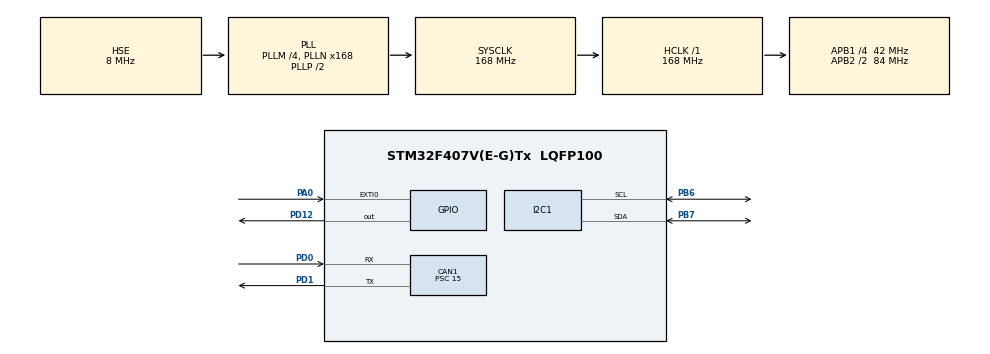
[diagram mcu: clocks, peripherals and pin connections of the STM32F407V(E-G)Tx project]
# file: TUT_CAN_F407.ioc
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CAN1.BS1=CAN_BS1_2TQ
CAN1.BS2=CAN_BS2_4TQ
CAN1.CalculateBaudRate=400000
CAN1.CalculateTimeBit=2500
CAN1.CalculateTimeQuantum=357.14285714285717
CAN1.Prescaler=15
Mcu.Family=STM32F4
Mcu.Name=STM32F407V(E-G)Tx
Mcu.Package=LQFP100
NVIC.CAN1_RX0_IRQn=true\:0\:0\:false\:false\:true\:true\:true\:true
NVIC.EXTI0_IRQn=true\:0\:0\:false\:false\:true\:true\:true\:true
NVIC.PriorityGroup=NVIC_PRIORITYGROUP_4
PA0-WKUP.Signal=GPXTI0
PA13.Mode=Serial_Wire
PA13.Signal=SYS_JTMS-SWDIO
PA14.Mode=Serial_Wire
PA14.Signal=SYS_JTCK-SWCLK
PB6.Mode=I2C
PB6.Signal=I2C1_SCL
PB7.Mode=I2C
PB7.Signal=I2C1_SDA
PD0.Mode=CAN_Activate
PD0.Signal=CAN1_RX
PD1.Mode=CAN_Activate
PD1.Signal=CAN1_TX
PD12.Signal=GPIO_Output
PH0-OSC_IN.Mode=HSE-External-Oscillator
PH0-OSC_IN.Signal=RCC_OSC_IN
PH1-OSC_OUT.Mode=HSE-External-Oscillator
PH1-OSC_OUT.Signal=RCC_OSC_OUT
ProjectManager.HeapSize=0x200
ProjectManager.StackSize=0x400
ProjectManager.TargetToolchain=STM32CubeIDE
RCC.48MHZClocksFreq_Value=84000000
RCC.AHBFreq_Value=168000000
RCC.APB1CLKDivider=RCC_HCLK_DIV4
RCC.APB1Freq_Value=42000000
RCC.APB1TimFreq_Value=84000000
RCC.APB2CLKDivider=RCC_HCLK_DIV2
RCC.APB2Freq_Value=84000000
RCC.APB2TimFreq_Value=168000000
RCC.CortexFreq_Value=168000000
RCC.HCLKFreq_Value=168000000
RCC.HSE_VALUE=8000000
RCC.HSI_VALUE=16000000
RCC.LSE_VALUE=32768
RCC.PLLM=4
RCC.PLLN=168
RCC.PLLSourceVirtual=RCC_PLLSOURCE_HSE
RCC.SYSCLKFreq_VALUE=168000000
RCC.SYSCLKSource=RCC_SYSCLKSOURCE_PLLCLK
RCC.VCOOutputFreq_Value=336000000
board=custom

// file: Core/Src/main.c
/* USER CODE BEGIN Header */
/**
  ******************************************************************************
  * @file           : main.c
  * @brief          : Main program body
  ******************************************************************************
  * @attention
  *
  * Copyright (c) 2024 STMicroelectronics.
  * All rights reserved.
  *
  * This software is licensed under terms that can be found in the LICENSE file
  * in the root directory of this software component.
  * If no LICENSE file comes with this software, it is provided AS-IS.
  *
  ******************************************************************************
  */
/* USER CODE END Header */
#include "main.h"

/* USER CODE BEGIN Includes */

#include "BMP180.h"
#include "math.h"

CAN_TxHeaderTypeDef TxHeader;
CAN_RxHeaderTypeDef RxHeader;

uint8_t txData[8];
uint8_t rxData[8];

uint32_t TxMailbox;

uint8_t status;

sensor_status_e status1;
sensor_readiness_e status2;
sensor_readiness_e status3;

uint8_t return1;
int16_t calibrationData[11];

float tempVal;
double presVal;
double altitudeVal;

/* USER CODE END Includes */

CAN_HandleTypeDef hcan1;

I2C_HandleTypeDef hi2c1;

void SystemClock_Config(void);
static void MX_GPIO_Init(void);
static void MX_CAN1_Init(void);
static void MX_I2C1_Init(void);

/* USER CODE BEGIN 0 */

void HAL_GPIO_EXTI_Callback(uint16_t GPIO_Pin)
{
	if(HAL_GPIO_ReadPin(GPIOA,GPIO_PIN_0))
	{
		txData[0] = tempVal;
		txData[1] = presVal;
		txData[2] = altitudeVal;
	}

	HAL_CAN_AddTxMessage(&hcan1, &TxHeader, txData, &TxMailbox);
}

void HAL_CAN_RxFifo0MsgPendingCallback(CAN_HandleTypeDef *hcan)
{
	HAL_CAN_GetRxMessage(&hcan1, CAN_RX_FIFO0, &RxHeader, rxData);

	if(RxHeader.DLC == 2)
	{
		status = 1;
	}

}

/* USER CODE END 0 */

int main(void)
{

  /* MCU Configuration--------------------------------------------------------*/

  /* Reset of all peripherals, Initializes the Flash interface and the Systick. */
  HAL_Init();

  /* Configure the system clock */
  SystemClock_Config();

  /* Initialize all configured peripherals */
  MX_GPIO_Init();
  MX_CAN1_Init();
  MX_I2C1_Init();
  /* USER CODE BEGIN 2 */

  HAL_CAN_Start(&hcan1);

  HAL_CAN_ActivateNotification(&hcan1, CAN_IT_RX_FIFO0_MSG_PENDING);

  TxHeader.DLC = 3;
  TxHeader.IDE = CAN_ID_STD;
  TxHeader.RTR = CAN_RTR_DATA;
  TxHeader.StdId = 0x407;

  status1 = BMP180_check_sensor();
  status2 = BMP180_chip_ID();
  BMP180_getCalib_data(calibrationData);

  /* USER CODE END 2 */

  /* Infinite loop */
  while (1)
  {

    /* USER CODE BEGIN 3 */

//	  if(status == 1)
//	  {
//		  for(int i = 0;i < rxData[1];i++)
//		  {
//			  HAL_GPIO_TogglePin(GPIOD,GPIO_PIN_12);
//			  HAL_Delay(rxData[0]);
//		  }
//		  status = 0;
//	  }

	  tempVal = BMP180_read_rtemp();

	  // Turn to bar
	  presVal = BMP180_read_rpres(SINGLE_TIME);

	  altitudeVal = 44330 * (1 - pow(presVal/101325,1/5255));

	  txData[0] = tempVal;
	  txData[1] = presVal;
	  txData[2] = altitudeVal;

	  HAL_CAN_AddTxMessage(&hcan1, &TxHeader, txData, &TxMailbox);
  }
  /* USER CODE END 3 */
}

void SystemClock_Config(void)
{
  RCC_OscInitTypeDef RCC_OscInitStruct = {0};
  RCC_ClkInitTypeDef RCC_ClkInitStruct = {0};

  /** Configure the main internal regulator output voltage
  */
  __HAL_RCC_PWR_CLK_ENABLE();
  __HAL_PWR_VOLTAGESCALING_CONFIG(PWR_REGULATOR_VOLTAGE_SCALE1);

  /** Initializes the RCC Oscillators according to the specified parameters
  * in the RCC_OscInitTypeDef structure.
  */
  RCC_OscInitStruct.OscillatorType = RCC_OSCILLATORTYPE_HSE;
  RCC_OscInitStruct.HSEState = RCC_HSE_ON;
  RCC_OscInitStruct.PLL.PLLState = RCC_PLL_ON;
  RCC_OscInitStruct.PLL.PLLSource = RCC_PLLSOURCE_HSE;
  RCC_OscInitStruct.PLL.PLLM = 4;
  RCC_OscInitStruct.PLL.PLLN = 168;
  RCC_OscInitStruct.PLL.PLLP = RCC_PLLP_DIV2;
  RCC_OscInitStruct.PLL.PLLQ = 4;
  if (HAL_RCC_OscConfig(&RCC_OscInitStruct) != HAL_OK)
  {
    Error_Handler();
  }

  /** Initializes the CPU, AHB and APB buses clocks
  */
  RCC_ClkInitStruct.ClockType = RCC_CLOCKTYPE_HCLK|RCC_CLOCKTYPE_SYSCLK
                              |RCC_CLOCKTYPE_PCLK1|RCC_CLOCKTYPE_PCLK2;
  RCC_ClkInitStruct.SYSCLKSource = RCC_SYSCLKSOURCE_PLLCLK;
  RCC_ClkInitStruct.AHBCLKDivider = RCC_SYSCLK_DIV1;
  RCC_ClkInitStruct.APB1CLKDivider = RCC_HCLK_DIV4;
  RCC_ClkInitStruct.APB2CLKDivider = RCC_HCLK_DIV2;

  if (HAL_RCC_ClockConfig(&RCC_ClkInitStruct, FLASH_LATENCY_5) != HAL_OK)
  {
    Error_Handler();
  }
}

static void MX_CAN1_Init(void)
{

  hcan1.Instance = CAN1;
  hcan1.Init.Prescaler = 15;
  hcan1.Init.Mode = CAN_MODE_NORMAL;
  hcan1.Init.SyncJumpWidth = CAN_SJW_1TQ;
  hcan1.Init.TimeSeg1 = CAN_BS1_2TQ;
  hcan1.Init.TimeSeg2 = CAN_BS2_4TQ;
  hcan1.Init.TimeTriggeredMode = DISABLE;
  hcan1.Init.AutoBusOff = DISABLE;
  hcan1.Init.AutoWakeUp = DISABLE;
  hcan1.Init.AutoRetransmission = DISABLE;
  hcan1.Init.ReceiveFifoLocked = DISABLE;
  hcan1.Init.TransmitFifoPriority = DISABLE;
  if (HAL_CAN_Init(&hcan1) != HAL_OK)
  {
    Error_Handler();
  }
  /* USER CODE BEGIN CAN1_Init 2 */

  CAN_FilterTypeDef FilterConfig;

  FilterConfig.FilterActivation=CAN_FILTER_ENABLE;
  FilterConfig.FilterBank = 18;
  FilterConfig.FilterFIFOAssignment=CAN_FILTER_FIFO0;
  FilterConfig.FilterIdHigh = 0x303 << 5;
  FilterConfig.FilterIdLow = 0x0000;
  FilterConfig.FilterMaskIdHigh = 0x303 << 5;
  FilterConfig.FilterMaskIdLow = 0x0000;
  FilterConfig.FilterMode=CAN_FILTERMODE_IDMASK;
  FilterConfig.FilterScale=CAN_FILTERSCALE_32BIT;
  FilterConfig.SlaveStartFilterBank = 20;

  HAL_CAN_ConfigFilter(&hcan1, &FilterConfig);

  /* USER CODE END CAN1_Init 2 */

}

static void MX_I2C1_Init(void)
{

  hi2c1.Instance = I2C1;
  hi2c1.Init.ClockSpeed = 100000;
  hi2c1.Init.DutyCycle = I2C_DUTYCYCLE_2;
  hi2c1.Init.OwnAddress1 = 0;
  hi2c1.Init.AddressingMode = I2C_ADDRESSINGMODE_7BIT;
  hi2c1.Init.DualAddressMode = I2C_DUALADDRESS_DISABLE;
  hi2c1.Init.OwnAddress2 = 0;
  hi2c1.Init.GeneralCallMode = I2C_GENERALCALL_DISABLE;
  hi2c1.Init.NoStretchMode = I2C_NOSTRETCH_DISABLE;
  if (HAL_I2C_Init(&hi2c1) != HAL_OK)
  {
    Error_Handler();
  }

}

static void MX_GPIO_Init(void)
{
  GPIO_InitTypeDef GPIO_InitStruct = {0};

  /* GPIO Ports Clock Enable */
  __HAL_RCC_GPIOH_CLK_ENABLE();
  __HAL_RCC_GPIOA_CLK_ENABLE();
  __HAL_RCC_GPIOD_CLK_ENABLE();
  __HAL_RCC_GPIOB_CLK_ENABLE();

  /*Configure GPIO pin Output Level */
  HAL_GPIO_WritePin(GPIOD, GPIO_PIN_12, GPIO_PIN_RESET);

  /*Configure GPIO pin : PA0 */
  GPIO_InitStruct.Pin = GPIO_PIN_0;
  GPIO_InitStruct.Mode = GPIO_MODE_IT_RISING;
  GPIO_InitStruct.Pull = GPIO_NOPULL;
  HAL_GPIO_Init(GPIOA, &GPIO_InitStruct);

  /*Configure GPIO pin : PD12 */
  GPIO_InitStruct.Pin = GPIO_PIN_12;
  GPIO_InitStruct.Mode = GPIO_MODE_OUTPUT_PP;
  GPIO_InitStruct.Pull = GPIO_NOPULL;
  GPIO_InitStruct.Speed = GPIO_SPEED_FREQ_LOW;
  HAL_GPIO_Init(GPIOD, &GPIO_InitStruct);

  /* EXTI interrupt init*/
  HAL_NVIC_SetPriority(EXTI0_IRQn, 0, 0);
  HAL_NVIC_EnableIRQ(EXTI0_IRQn);

}

void Error_Handler(void)
{
  __disable_irq();
  while (1)
  {
  }
}
